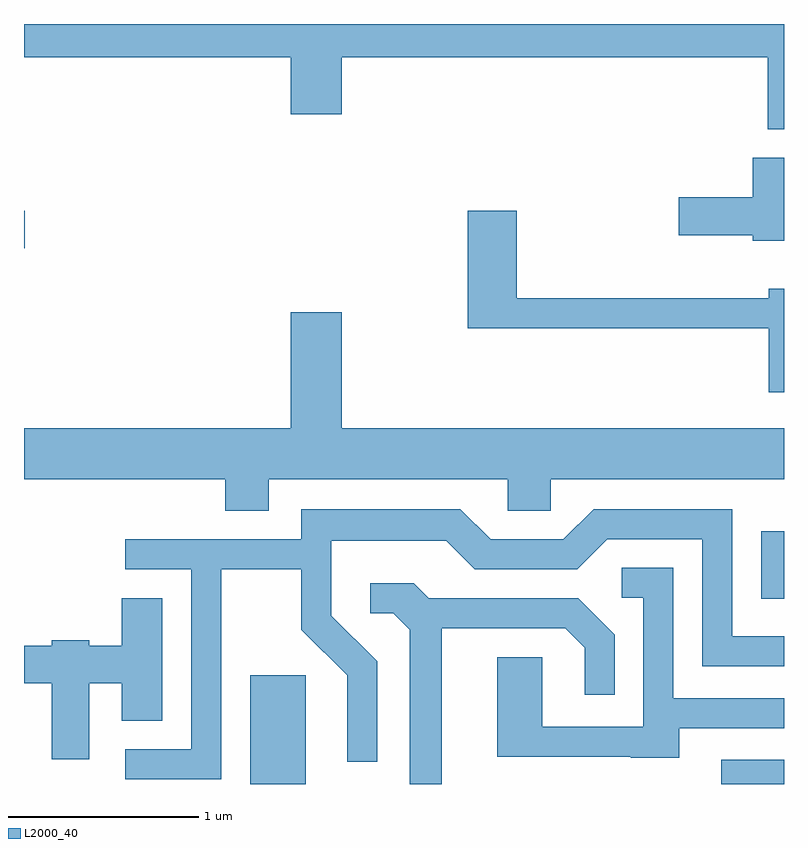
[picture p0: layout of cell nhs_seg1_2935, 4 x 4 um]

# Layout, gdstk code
import gdstk
lib = gdstk.Library(unit=1e-6, precision=1e-09)
def R(c, l, rs):  # rectangles x0, y0, x1, y1
    for r in rs: c.add(gdstk.rectangle(r[:2], r[2:], *l))
def P(c, l, *ps):  # polygons
    for p in ps: c.add(gdstk.Polygon(p, *l))
L2000_40 = (2000, 40)

nhs_seg1_2935 = lib.new_cell('nhs_seg1_2935')
R(nhs_seg1_2935, L2000_40, [(274.801,935.712,275.094,936.284), (277.281,935.712,277.611,935.839), (277.491,936.686,277.611,937.043), (273.611,938.531,273.614,938.729)])
P(nhs_seg1_2935, L2000_40, [(277.611,939.712),(273.611,939.712),(273.611,939.536),(275.016,939.536),(275.016,939.236),(275.284,939.236),(275.284,939.536),(277.526,939.536),(277.526,939.158),(277.611,939.158)],
  [(277.611,939.009),(277.446,939.009),(277.446,938.799),(277.056,938.799),(277.056,938.601),(277.446,938.601),(277.446,938.571),(277.611,938.571)],
  [(277.611,938.319),(277.531,938.319),(277.531,938.269),(276.204,938.269),(276.204,938.729),(275.946,938.729),(275.946,938.111),(277.531,938.111),(277.531,937.773),(277.611,937.773)],
  [(274.899,937.316),(276.156,937.316),(276.156,937.151),(276.384,937.151),(276.384,937.316),(277.611,937.316),(277.611,937.584),(275.284,937.584),(275.284,938.194),(275.016,938.194),(275.016,937.584),(273.611,937.584),(273.611,937.316),(274.671,937.316),(274.671,937.151),(274.899,937.151)],
  [(274.649,936.841),(275.071,936.841),(275.071,936.524),(275.311,936.284),(275.311,935.828),(275.469,935.828),(275.469,936.357),(275.229,936.597),(275.229,936.991),(275.834,936.991),(275.984,936.841),(276.522,936.841),(276.682,937.001),(277.181,937.001),(277.181,936.331),(277.611,936.331),(277.611,936.489),(277.339,936.489),(277.339,937.159),(276.609,937.159),(276.449,936.999),(276.067,936.999),(275.907,937.159),(275.071,937.159),(275.071,936.999),(274.143,936.999),(274.143,936.841),(274.491,936.841),(274.491,935.894),(274.143,935.894),(274.143,935.736),(274.649,935.736)],
  [(277.059,936.006),(277.611,936.006),(277.611,936.164),(277.029,936.164),(277.029,936.849),(276.758,936.849),(276.758,936.691),(276.871,936.691),(276.871,936.014),(276.339,936.014),(276.339,936.379),(276.101,936.379),(276.101,935.856),(276.805,935.856),(276.805,935.851),(277.059,935.851)],
  [(275.809,936.531),(276.459,936.531),(276.561,936.429),(276.561,936.183),(276.719,936.183),(276.719,936.497),(276.527,936.689),(275.742,936.689),(275.662,936.769),(275.433,936.769),(275.433,936.611),(275.554,936.611),(275.641,936.524),(275.641,935.712),(275.809,935.712)],
  [(273.954,936.241),(274.126,936.241),(274.126,936.046),(274.339,936.046),(274.339,936.689),(274.126,936.689),(274.126,936.439),(273.954,936.439),(273.954,936.469),(273.756,936.469),(273.756,936.439),(273.611,936.439),(273.611,936.241),(273.756,936.241),(273.756,935.841),(273.954,935.841)])

lib.write_gds('nhs_seg1_2935.gds')
